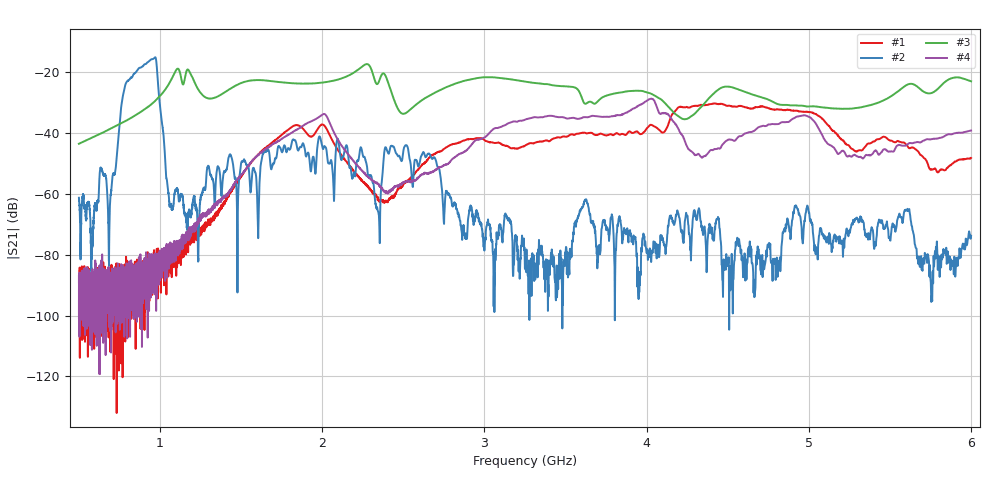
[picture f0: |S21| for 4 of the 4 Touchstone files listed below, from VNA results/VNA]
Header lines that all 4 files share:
# Hz S DB R 50
! CMT, C2409, 19096212, 19.2.3/2
! Data: Format (Calibration Info)
! Freq	S11:dB/Ang(F2)	S21:dB/Ang(F2)	S12:dB/Ang(F2)	S22:dB/Ang(F2)
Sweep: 500 MHz to 6 GHz
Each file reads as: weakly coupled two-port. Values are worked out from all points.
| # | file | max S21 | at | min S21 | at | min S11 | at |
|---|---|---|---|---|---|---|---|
| 1 | 2ports_blackAnt2G5Hz.s2p | -30.20 dB | 4.42 GHz | -132.0 dB | 732.7 MHz | -1.4 dB | 6 GHz |
| 2 | 8mu.s2p | -15.02 dB | 970.3 MHz | -104.6 dB | 4.509 GHz | -36.6 dB | 877.6 MHz |
| 3 | p1_p2_50ohm_0401.s2p | -17.26 dB | 2.275 GHz | -43.5 dB | 500 MHz | -43.4 dB | 1.142 GHz |
| 4 | Y1_B2_2ports_blackAnt2G5Hz.s2p | -28.63 dB | 4.03 GHz | -119.2 dB | 628.4 MHz | -12.4 dB | 5.254 GHz |
